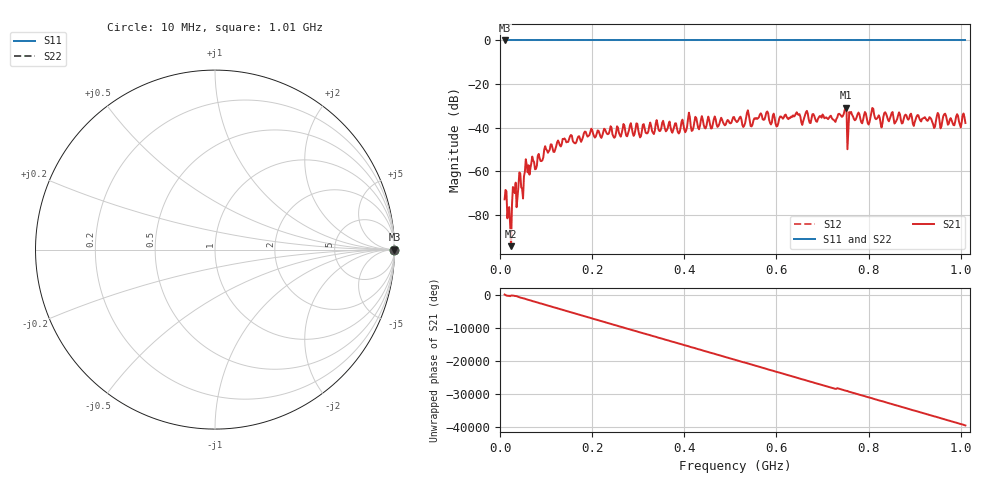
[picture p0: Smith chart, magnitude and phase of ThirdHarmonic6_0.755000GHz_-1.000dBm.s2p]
! 8/16/2025 1:15:10 AM
! C:\ANRITSUVNA\TEMP\TEMP.S2P
! CHANNEL.1
! TR.MEASUREMENT
! RAW.DATA
! RF.CORRECTION.OFF
! AVERAGING.OFF
! IF.BANDWIDTH: 5KHZ
! SWEEPTYPE:  FREQ.SWEEP(Linear)
! Reference Plane Port Info
! PORT:  PORT1  PORT2
! DISTANCE:  0  m  0  m
! TIME:  0  s  0  s
! PHASE.OFFSET:  0  deg.  0  deg.
! LOSS:  0  dB  0  dB
! REF.LOSS:  0  dB  0  dB
! REF.FREQ:  0  Hz  0  Hz
! Power Info
! POWER:  -20  dBm  -20  dBm
! EFF.POWER:  -20  dBm  -20  dBm
! SOURCE.ATTEN:  0  dB  0  dB
! TEST.ATTEN:  0  dB  0  dB
# GHZ S RI R 50.0
! FREQ.GHZ  S11RE  S11IM  S21RE  S21IM  S12RE  S12IM  S22RE  S22IM
!; PortSelection: Port_12
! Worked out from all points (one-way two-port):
!   501 points, 10 MHz to 1.01 GHz, reference 50 ohm
!   highest |S21| = -30.80 dB at 750 MHz (marker M1); lowest = -94.4 dB at 24 MHz (marker M2)
!   lowest |S11| = 0.0 dB at 10 MHz (marker M3)
!   |S11| at or under -10 dB: nowhere
!   |S22| runs from 0.0 to 0.0 dB; largest |S21 - S12| = 1
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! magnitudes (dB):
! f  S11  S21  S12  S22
! 10 MHz  0.0  -72.9  0.0  0.0
! 20 MHz  0.0  -76.4  0.0  0.0
! 24 MHz  0.0  -94.4  0.0  0.0
! 30 MHz  0.0  -68.5  0.0  0.0
! 50 MHz  0.0  -72.5  0.0  0.0
! 58 MHz  0.0  -57.0  0.0  0.0
! 138 MHz  0.0  -45.3  0.0  0.0
! 178 MHz  0.0  -45.6  0.0  0.0
! 344 MHz  0.0  -40.9  0.0  0.0
! 388 MHz  0.0  -42.7  0.0  0.0
! 410 MHz  0.0  -33.1  0.0  0.0
! 418 MHz  0.0  -41.2  0.0  0.0
! 510 MHz  0.0  -36.4  0.0  0.0
! 678 MHz  0.0  -33.9  0.0  0.0
! 726 MHz  0.0  -36.8  0.0  0.0
! 748 MHz  0.0  -32.0  0.0  0.0
! 750 MHz  0.0  -30.8  0.0  0.0
! 800 MHz  0.0  -38.6  0.0  0.0
! 808 MHz  0.0  -31.0  0.0  0.0
! 826 MHz  0.0  -38.1  0.0  0.0
! 844 MHz  0.0  -37.1  0.0  0.0
! 1.01 GHz  0.0  -37.9  0.0  0.0
